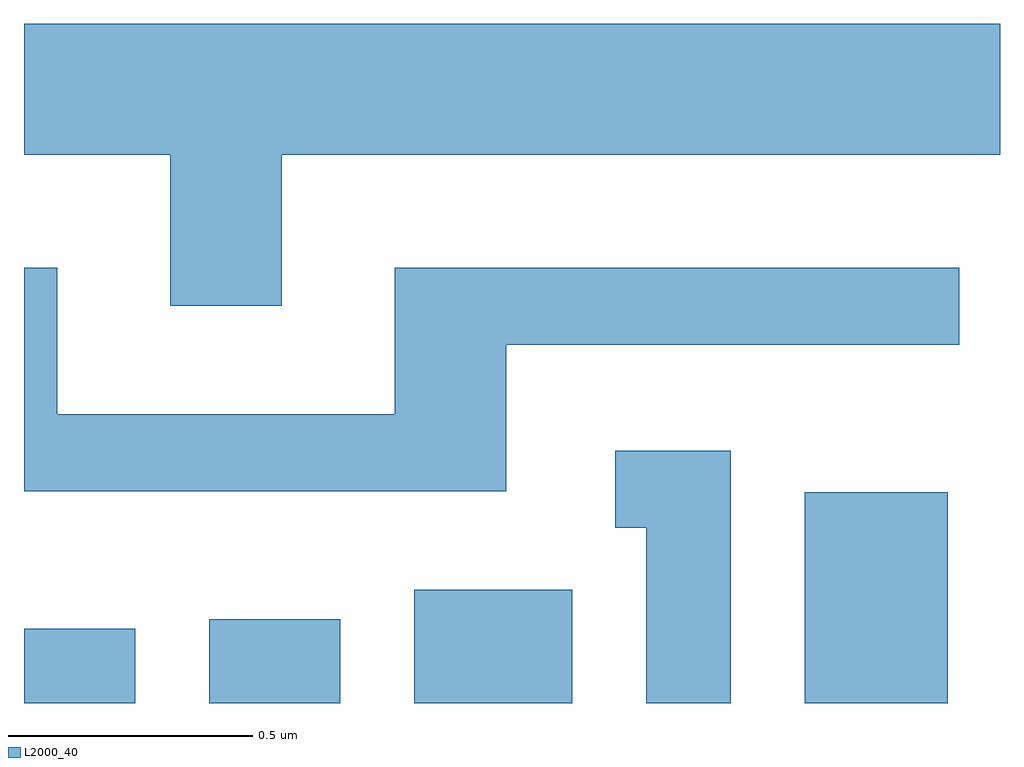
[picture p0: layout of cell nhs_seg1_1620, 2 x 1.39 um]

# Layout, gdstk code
import gdstk
lib = gdstk.Library(unit=1e-6, precision=1e-09)
def R(c, l, rs):  # rectangles x0, y0, x1, y1
    for r in rs: c.add(gdstk.rectangle(r[:2], r[2:], *l))
def P(c, l, *ps):  # polygons
    for p in ps: c.add(gdstk.Polygon(p, *l))
L2000_40 = (2000, 40)

nhs_seg1_1620 = lib.new_cell('nhs_seg1_1620')
R(nhs_seg1_1620, L2000_40, [(196.611,971.712,196.839,971.864), (196.991,971.712,197.259,971.884), (197.411,971.712,197.734,971.944), (198.211,971.712,198.504,972.144)])
P(nhs_seg1_1620, L2000_40, [(197.139,972.836),(198.611,972.836),(198.611,973.104),(196.611,973.104),(196.611,972.836),(196.911,972.836),(196.911,972.526),(197.139,972.526)],
  [(197.599,972.446),(198.528,972.446),(198.528,972.604),(197.371,972.604),(197.371,972.304),(196.679,972.304),(196.679,972.604),(196.611,972.604),(196.611,972.146),(197.599,972.146)],
  [(198.059,972.229),(197.823,972.229),(197.823,972.071),(197.886,972.071),(197.886,971.712),(198.059,971.712)])

lib.write_gds('nhs_seg1_1620.gds')
